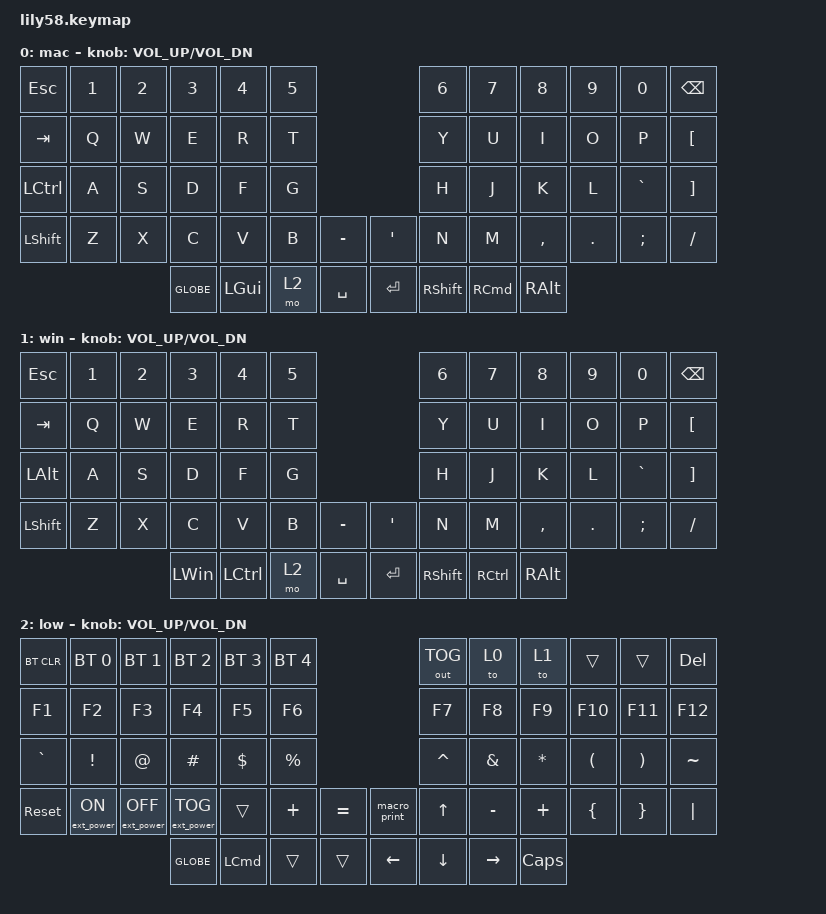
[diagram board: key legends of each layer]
/*
 * Copyright (c) 2020 The ZMK Contributors
 *
 * SPDX-License-Identifier: MIT
 */

#include <behaviors.dtsi>
#include <dt-bindings/zmk/bt.h>
#include <dt-bindings/zmk/ext_power.h>
#include <dt-bindings/zmk/keys.h>
#include <dt-bindings/zmk/outputs.h>

/ {
    macros {
        macro_print: macro_print {
            compatible = "zmk,behavior-macro";
            #binding-cells = <0>;
            bindings =
                <&macro_press>,
                <&kp LGUI &kp LSHIFT>,
                <&macro_tap>,
                <&kp N4>,
                <&macro_release>,
                <&kp LSHIFT &kp LGUI>;

            label = "MACRO_PRINT";
        };
    };

    keymap {
        compatible = "zmk,keymap";

        mac {
            display-name = "mac";

            // ------------------------------------------------------------------------------------------------------------
            // |  ESC  |  1  |  2  |  3   |  4   |  5   |                   |  6   |  7    |  8    |  9   |   0   |   `   |
            // |  TAB  |  Q  |  W  |  E   |  R   |  T   |                   |  Y   |  U    |  I    |  O   |   P   |   -   |
            // |  CTRL |  A  |  S  |  D   |  F   |  G   |                   |  H   |  J    |  K    |  L   |   ;   |   '   |
            // | SHIFT |  Z  |  X  |  C   |  V   |  B   |   "["  |  |  "]"  |  N   |  M    |  ,    |  .   |   /   | SHIFT |
            //                     | ALT  | GUI  | LOWER|  SPACE |  | ENTER | RAISE| BSPC  | GUI   |

            bindings = <
&kp ESC    &kp N1  &kp N2  &kp N3     &kp N4    &kp N5                        &kp N6     &kp N7             &kp N8         &kp N9   &kp N0         &kp BACKSPACE
&kp TAB    &kp Q   &kp W   &kp E      &kp R     &kp T                         &kp Y      &kp U              &kp I          &kp O    &kp P          &kp LEFT_BRACKET
&kp LCTRL  &kp A   &kp S   &kp D      &kp F     &kp G                         &kp H      &kp J              &kp K          &kp L    &kp GRAVE      &kp RIGHT_BRACKET
&kp LSHFT  &kp Z   &kp X   &kp C      &kp V     &kp B   &kp MINUS    &kp SQT  &kp N      &kp M              &kp COMMA      &kp DOT  &kp SEMICOLON  &kp SLASH
                           &kp GLOBE  &kp LGUI  &mo 2   &kp SPACE    &kp RET  &kp RSHFT  &kp RIGHT_COMMAND  &kp RIGHT_ALT
            >;

            sensor-bindings = <&inc_dec_kp C_VOL_UP C_VOL_DN>;
            label = "mac";
        };

        win {
            label = "win";
            display-name = "win";
            bindings = <
&kp ESC       &kp N1  &kp N2  &kp N3        &kp N4     &kp N5                        &kp N6     &kp N7             &kp N8         &kp N9   &kp N0         &kp BACKSPACE
&kp TAB       &kp Q   &kp W   &kp E         &kp R      &kp T                         &kp Y      &kp U              &kp I          &kp O    &kp P          &kp LEFT_BRACKET
&kp LEFT_ALT  &kp A   &kp S   &kp D         &kp F      &kp G                         &kp H      &kp J              &kp K          &kp L    &kp GRAVE      &kp RIGHT_BRACKET
&kp LSHFT     &kp Z   &kp X   &kp C         &kp V      &kp B   &kp MINUS    &kp SQT  &kp N      &kp M              &kp COMMA      &kp DOT  &kp SEMICOLON  &kp SLASH
                              &kp LEFT_WIN  &kp LCTRL  &mo 2   &kp SPACE    &kp RET  &kp RSHFT  &kp RIGHT_CONTROL  &kp RIGHT_ALT
            >;

            sensor-bindings = <&inc_dec_kp C_VOL_UP C_VOL_DN>;
        };

        low {
            display-name = "low";

            // ------------------------------------------------------------------------------------------------------------
            // | BTCLR | BT1 | BT2 |  BT3 |  BT4 |  BT5 |                   |      |       |       |      |       |       |
            // |  F1   |  F2 |  F3 |  F4  |  F5  |  F6  |                   |  F7  |  F8   |  F9   |  F10 |  F11  |  F12  |
            // |   `   |  !  |  @  |  #   |  $   |  %   |                   |  ^   |  &    |  *    |  (   |   )   |   ~   |
            // |       |     |     |      |      |      |        |  |       |      |  _    |  +    |  {   |   }   |  "|"  |
            //                     |      |      |      |        |  |       |      |       |       |

            bindings = <
&bt BT_CLR  &bt BT_SEL 0      &bt BT_SEL 1       &bt BT_SEL 2       &bt BT_SEL 3      &bt BT_SEL 4                               &out OUT_TOG    &to 0      &to 1         &trans    &trans    &kp DELETE
&kp F1      &kp F2            &kp F3             &kp F4             &kp F5            &kp F6                                     &kp F7          &kp F8     &kp F9        &kp F10   &kp F11   &kp F12
&kp GRAVE   &kp EXCL          &kp AT             &kp HASH           &kp DOLLAR        &kp PRCNT                                  &kp CARET       &kp AMPS   &kp ASTRK     &kp LPAR  &kp RPAR  &kp TILDE
&sys_reset  &ext_power EP_ON  &ext_power EP_OFF  &ext_power EP_TOG  &trans            &kp PLUS      &kp EQUAL    &macro_print    &kp UP_ARROW    &kp MINUS  &kp PLUS      &kp LBRC  &kp RBRC  &kp PIPE
                                                 &kp GLOBE          &kp LEFT_COMMAND  &trans        &trans       &kp LEFT_ARROW  &kp DOWN_ARROW  &kp RIGHT  &kp CAPSLOCK
            >;

            sensor-bindings = <&inc_dec_kp C_VOL_UP C_VOL_DN>;
            label = "low";
        };
    };
};
